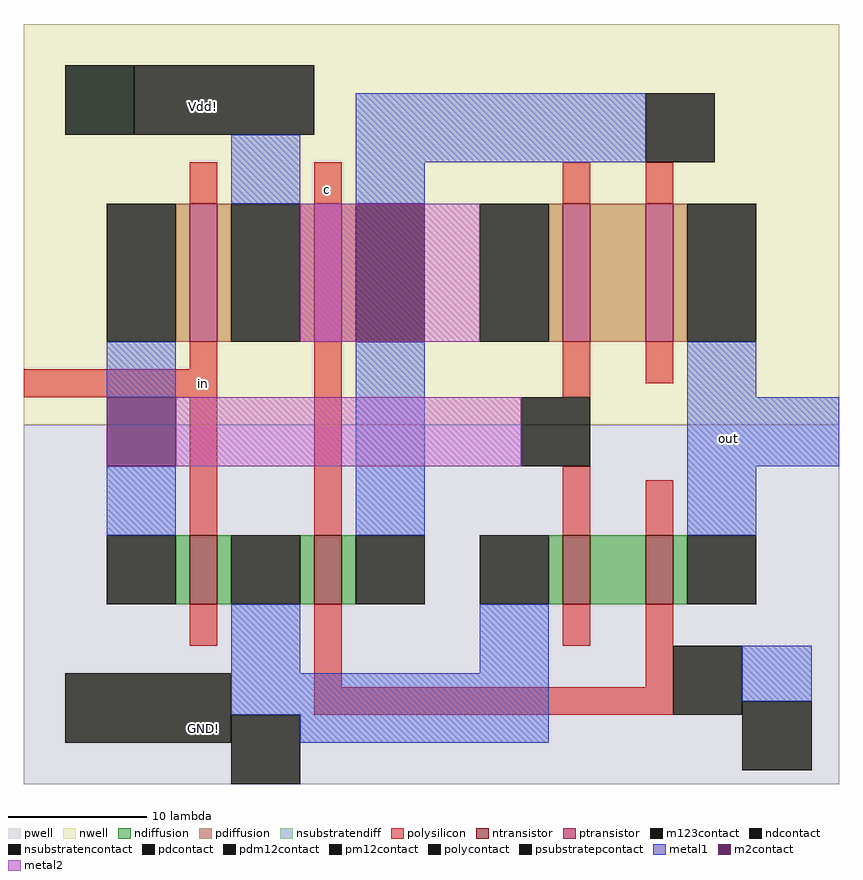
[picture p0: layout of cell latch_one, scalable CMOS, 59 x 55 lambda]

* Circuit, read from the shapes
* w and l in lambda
.subckt latch_one GND! Vdd! c in out
M1 GND! in n1 GND! nfet w=5 l=2
M2 n2 c GND! GND! nfet w=5 l=2
M3 n3 n1 GND! GND! nfet w=5 l=2
M4 out c n3 GND! nfet w=5 l=2
M5 Vdd! in n1 Vdd! pfet w=10 l=2
M6 n2 c Vdd! Vdd! pfet w=10 l=2
M7 n4 n1 Vdd! Vdd! pfet w=10 l=2
M8 out n2 n4 Vdd! pfet w=10 l=2
.ends

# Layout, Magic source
magic
tech scmos
<< nwell >>
rect -11 -41 48 -12
<< pwell >>
rect -11 -67 48 -41
<< ntransistor >>
rect 1 -54 3 -49
rect 10 -54 12 -49
rect 28 -54 30 -49
rect 34 -54 36 -49
<< ptransistor >>
rect 1 -35 3 -25
rect 10 -35 12 -25
rect 28 -35 30 -25
rect 34 -35 36 -25
<< ndiffusion >>
rect 0 -54 1 -49
rect 3 -54 4 -49
rect 9 -54 10 -49
rect 12 -54 13 -49
rect 27 -54 28 -49
rect 30 -54 34 -49
rect 36 -54 37 -49
<< pdiffusion >>
rect 0 -35 1 -25
rect 3 -35 4 -25
rect 9 -35 10 -25
rect 12 -35 13 -25
rect 27 -35 28 -25
rect 30 -35 34 -25
rect 36 -35 37 -25
<< ndcontact >>
rect -5 -54 0 -49
rect 4 -54 9 -49
rect 13 -54 18 -49
rect 22 -54 27 -49
rect 37 -54 42 -49
<< pdcontact >>
rect -5 -35 0 -25
rect 13 -35 18 -25
rect 37 -35 42 -25
<< nsubstratendiff >>
rect -8 -20 -3 -15
<< psubstratepcontact >>
rect -8 -64 4 -59
<< nsubstratencontact >>
rect -3 -20 10 -15
<< polysilicon >>
rect 1 -25 3 -22
rect 10 -25 12 -22
rect 28 -25 30 -22
rect 34 -25 36 -22
rect 1 -37 3 -35
rect -11 -39 3 -37
rect 1 -49 3 -39
rect 10 -49 12 -35
rect 28 -39 30 -35
rect 34 -38 36 -35
rect 28 -49 30 -44
rect 34 -49 36 -45
rect 1 -57 3 -54
rect 10 -60 12 -54
rect 28 -57 30 -54
rect 34 -60 36 -54
rect 10 -62 36 -60
<< polycontact >>
rect 34 -22 39 -17
rect 36 -62 41 -57
<< metal1 >>
rect 4 -25 9 -20
rect 13 -22 34 -17
rect 13 -25 18 -22
rect -5 -39 0 -35
rect -5 -49 0 -44
rect 13 -49 18 -35
rect 37 -39 42 -35
rect 37 -44 48 -39
rect 37 -49 42 -44
rect 4 -59 9 -54
rect 22 -59 27 -54
rect 4 -62 27 -59
rect 41 -61 46 -57
rect 9 -64 27 -62
<< m2contact >>
rect -5 -44 0 -39
<< pm12contact >>
rect 25 -44 30 -39
<< pdm12contact >>
rect 4 -35 9 -25
rect 22 -35 27 -25
<< metal2 >>
rect 9 -35 22 -25
rect 0 -44 25 -39
<< m123contact >>
rect -8 -20 -3 -15
rect 4 -67 9 -62
rect 41 -66 46 -61
<< labels >>
rlabel polysilicon 11 -24 11 -24 1 c
rlabel metal1 40 -42 40 -42 1 out
rlabel nsubstratencontact 2 -18 2 -18 1 Vdd!
rlabel polysilicon 2 -38 2 -38 1 in
rlabel psubstratepcontact 2 -63 2 -63 1 GND!
<< end >>
